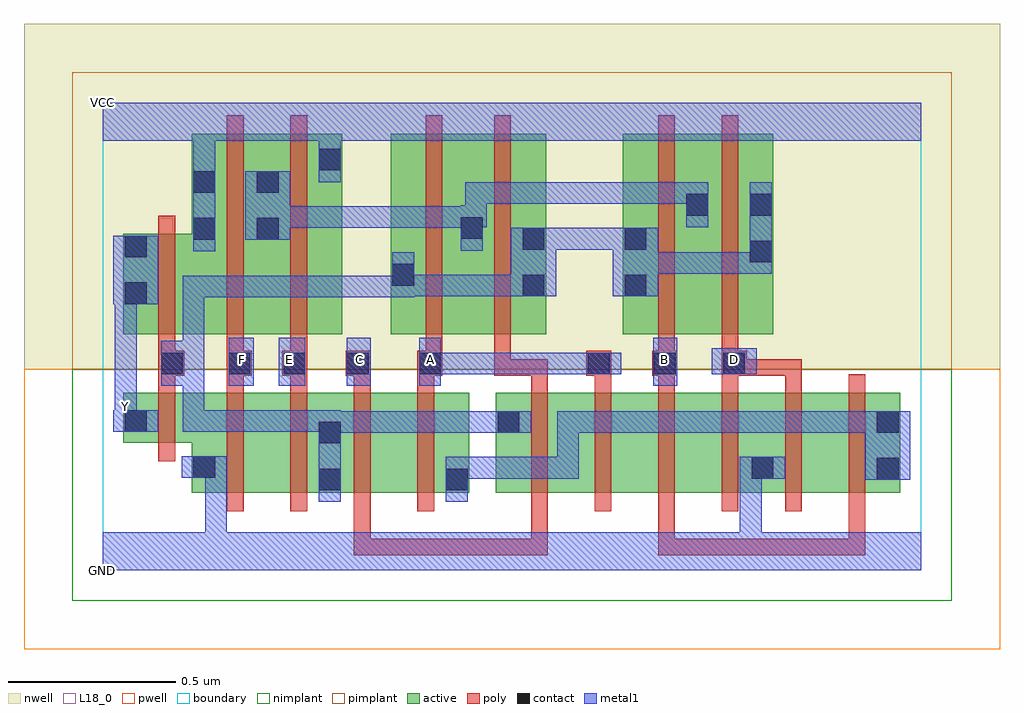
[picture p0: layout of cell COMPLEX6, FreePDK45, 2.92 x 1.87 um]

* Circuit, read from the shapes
.subckt COMPLEX6 A B C D E F GND VCC Y
M1 GND n1 Y VSUBS nfet w=0.15u l=0.05u
M2 n2 F GND VSUBS nfet w=0.3u l=0.05u
M3 n1 E n2 VSUBS nfet w=0.3u l=0.05u
M4 n3 C n1 VSUBS nfet w=0.3u l=0.05u
M5 n4 A n3 VSUBS nfet w=0.3u l=0.05u
M6 n5 C n1 VSUBS nfet w=0.3u l=0.05u
M7 n6 A n5 VSUBS nfet w=0.3u l=0.05u
M8 n7 B n6 VSUBS nfet w=0.3u l=0.05u
M9 GND D n7 VSUBS nfet w=0.3u l=0.05u
M10 n8 D GND VSUBS nfet w=0.3u l=0.05u
M11 n4 B n8 VSUBS nfet w=0.3u l=0.05u
M12 VCC n1 Y n9 pfet w=0.3u l=0.05u
M13 n10 F VCC n9 pfet w=0.6u l=0.05u
M14 VCC E n10 n9 pfet w=0.6u l=0.05u
M15 n10 A n1 n9 pfet w=0.6u l=0.05u
M16 n1 C n10 n9 pfet w=0.6u l=0.05u
M17 n10 B n1 n9 pfet w=0.6u l=0.05u
M18 n1 D n10 n9 pfet w=0.6u l=0.05u
.ends

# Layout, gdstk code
import gdstk
lib = gdstk.Library(unit=1e-6, precision=1e-09)
def R(c, l, rs):  # rectangles x0, y0, x1, y1
    for r in rs: c.add(gdstk.rectangle(r[:2], r[2:], *l))
def A(c, l, x, y, w, h, nx, ny, dx, dy):  # array of equal rectangles
    R(c, l, [(x+i*dx, y+j*dy, x+i*dx+w, y+j*dy+h) for i in range(nx) for j in range(ny)])
active = (1, 0)
pwell = (2, 0)
nwell = (3, 0)
nimplant = (4, 0)
pimplant = (5, 0)
poly = (9, 0)
contact = (10, 0)
metal1 = (11, 0)
L18_0 = (18, 0)
boundary = (235, 0)

complex6 = lib.new_cell('COMPLEX6')
R(complex6, active, [(0.267,0.232,0.492,0.532), (0.267,0.232,0.342,0.397), (0.492,0.232,0.717,0.532), (0.642,0.232,0.872,0.532), (0.872,0.232,1.097,0.532), (1.022,0.232,1.097,0.532), (1.177,0.232,1.402,0.532), (1.402,0.232,1.592,0.532), (1.592,0.232,1.782,0.532), (1.782,0.232,2.012,0.532), (1.937,0.232,2.012,0.517), (1.937,0.232,2.162,0.532), (2.162,0.232,2.387,0.532), (0.642,0.235,0.717,0.532), (1.177,0.247,1.282,0.532), (2.312,0.247,2.387,0.532), (0.062,0.382,0.342,0.532), (0.062,0.382,0.137,0.532), (0.062,0.707,0.137,1.007), (0.062,0.707,0.342,1.007), (0.267,0.707,0.532,1.307), (0.267,0.707,0.342,1.307), (0.457,0.707,0.532,1.2), (0.457,0.707,0.717,1.307), (0.642,0.707,0.717,1.307), (0.862,0.707,0.937,1.07), (0.862,0.707,1.142,1.307), (1.067,0.707,1.142,1.2), (1.067,0.707,1.327,1.307), (1.252,0.707,1.327,1.07), (1.557,0.707,1.817,1.307), (1.557,0.707,1.632,1.07), (1.742,0.707,1.817,1.2), (1.742,0.707,2.007,1.307), (1.932,0.707,2.007,1.2)])
R(complex6, pwell, [(-0.235,-0.235,2.685,0.602)])
R(complex6, nwell, [(-0.235,0.602,2.685,1.635)])
R(complex6, nimplant, [(-0.09,-0.09,2.54,0.602)])
R(complex6, pimplant, [(-0.09,0.602,2.54,1.49)])
A(complex6, poly, 0.372, 0.177, 0.05, 0.41, 4, 1, 0.19, 0)
A(complex6, poly, 1.282, 0.177, 0.05, 0.41, 6, 1, 0.19, 0)
A(complex6, poly, 0.372, 0.537, 0.05, 0.095, 4, 1, 0.19, 0)
A(complex6, poly, 1.282, 0.537, 0.05, 0.095, 5, 1, 0.19, 0)
R(complex6, poly, [(0.752,0.045,0.802,0.227), (0.752,0.045,0.802,0.095), (0.752,0.045,0.802,0.095), (0.752,0.045,0.802,0.095), (0.752,0.045,1.09,0.095), (1.04,0.045,1.09,0.095), (1.04,0.045,1.09,0.095), (1.04,0.045,1.09,0.095), (1.04,0.045,1.332,0.095), (1.282,0.045,1.332,0.227), (1.282,0.045,1.332,0.095), (1.282,0.045,1.332,0.095), (1.282,0.045,1.332,0.095), (1.662,0.045,1.712,0.227), (1.662,0.045,1.712,0.095), (1.662,0.045,1.712,0.095), (1.662,0.045,1.712,0.095), (1.662,0.045,1.927,0.095), (1.877,0.045,1.927,0.095), (1.877,0.045,1.927,0.095), (1.877,0.045,1.927,0.095), (1.877,0.045,2.06,0.095), (2.01,0.045,2.06,0.095), (2.01,0.045,2.282,0.095), (2.232,0.045,2.282,0.227), (2.232,0.045,2.282,0.095), (2.232,0.045,2.282,0.095), (2.232,0.045,2.282,0.095), (0.167,0.327,0.217,0.587), (0.167,0.537,0.217,0.632), (0.167,0.582,0.245,0.657), (0.372,0.582,0.447,0.657), (0.537,0.582,0.612,0.657), (0.727,0.582,0.802,0.657), (0.942,0.582,1.017,0.657), (1.172,0.582,1.222,0.702), (1.172,0.582,1.332,0.632), (1.447,0.582,1.522,0.657), (1.645,0.582,1.72,0.657), (1.852,0.582,1.927,0.657), (1.877,0.582,1.927,0.632), (1.877,0.582,1.927,0.632), (1.877,0.582,2.092,0.632), (2.042,0.582,2.092,0.632), (0.167,0.607,0.217,0.702), (0.372,0.607,0.422,0.702), (0.562,0.607,0.612,0.702), (0.967,0.607,1.017,0.702), (1.662,0.607,1.712,0.702), (1.852,0.607,1.902,0.702), (0.167,0.652,0.217,1.062), (0.372,0.652,0.422,1.362), (0.562,0.652,0.612,1.362), (0.967,0.652,1.017,1.362), (1.172,0.652,1.222,1.362), (1.662,0.652,1.712,1.362), (1.852,0.652,1.902,1.362)])
R(complex6, contact, [(0.647,0.24,0.712,0.305), (1.027,0.24,1.092,0.305), (2.317,0.272,2.382,0.337), (1.942,0.275,2.007,0.34), (0.272,0.277,0.337,0.342), (0.647,0.38,0.712,0.445), (1.182,0.412,1.247,0.477), (2.317,0.412,2.382,0.477), (0.067,0.415,0.132,0.48), (0.175,0.587,0.24,0.652), (0.377,0.587,0.442,0.652), (0.542,0.587,0.607,0.652), (0.732,0.587,0.797,0.652), (0.947,0.587,1.012,0.652), (1.452,0.587,1.517,0.652), (1.65,0.587,1.715,0.652), (1.857,0.587,1.922,0.652), (0.067,0.797,0.132,0.862), (1.257,0.82,1.322,0.885), (1.562,0.82,1.627,0.885), (0.867,0.852,0.932,0.917), (1.937,0.922,2.002,0.987), (0.067,0.937,0.132,1.002), (1.257,0.96,1.322,1.025), (1.562,0.96,1.627,1.025), (0.272,0.99,0.337,1.055), (0.462,0.99,0.527,1.055), (1.072,0.992,1.137,1.057), (1.747,1.062,1.812,1.127), (1.937,1.062,2.002,1.127), (0.272,1.13,0.337,1.195), (0.462,1.13,0.527,1.195), (0.647,1.197,0.712,1.262)])
R(complex6, metal1, [(0,0,2.45,0.115), (0.307,0.05,0.372,0.115), (0.307,0.05,0.372,0.115), (0.307,0.05,0.372,0.342), (1.907,0.05,1.972,0.115), (1.907,0.05,1.972,0.115), (1.907,0.05,1.972,0.34), (0.647,0.205,0.712,0.48), (1.027,0.205,1.092,0.34), (2.282,0.272,2.417,0.477), (1.027,0.275,1.15,0.34), (1.085,0.275,1.15,0.34), (1.085,0.275,1.287,0.34), (1.222,0.275,1.287,0.34), (1.222,0.275,1.425,0.34), (1.36,0.275,1.425,0.34), (1.36,0.275,1.425,0.477), (1.907,0.275,2.042,0.34), (0.237,0.277,0.372,0.342), (0.647,0.412,0.712,0.477), (0.647,0.412,0.712,0.477), (0.647,0.412,0.85,0.477), (0.785,0.412,0.85,0.477), (0.785,0.412,0.85,0.477), (0.785,0.412,0.85,0.477), (0.785,0.412,1.15,0.477), (1.085,0.412,1.15,0.477), (1.085,0.412,1.212,0.477), (1.147,0.412,1.282,0.477), (1.36,0.412,1.425,0.477), (1.36,0.412,1.425,0.477), (1.36,0.412,1.425,0.477), (1.36,0.412,1.675,0.477), (1.61,0.412,1.675,0.477), (1.61,0.412,1.675,0.477), (1.61,0.412,1.675,0.477), (1.61,0.412,1.835,0.477), (1.77,0.412,1.835,0.477), (1.77,0.412,1.835,0.477), (1.77,0.412,1.835,0.477), (1.77,0.412,1.972,0.477), (1.907,0.412,1.972,0.477), (1.907,0.412,2.21,0.477), (2.145,0.412,2.21,0.477), (2.145,0.412,2.21,0.477), (2.145,0.412,2.21,0.477), (2.145,0.412,2.347,0.477), (2.282,0.412,2.347,0.477), (2.282,0.412,2.347,0.477), (0.032,0.415,0.167,0.48), (0.037,0.415,0.102,0.48), (0.037,0.415,0.102,0.557), (0.24,0.415,0.305,0.48), (0.24,0.415,0.305,0.617), (0.24,0.415,0.377,0.48), (0.312,0.415,0.377,0.48), (0.312,0.415,0.575,0.48), (0.51,0.415,0.575,0.48), (0.51,0.415,0.575,0.48), (0.51,0.415,0.575,0.48), (0.51,0.415,0.712,0.48), (0.037,0.492,0.102,0.862), (0.175,0.552,0.24,0.687), (0.175,0.552,0.305,0.617), (0.24,0.552,0.305,0.617), (0.24,0.552,0.305,0.882), (0.377,0.552,0.452,0.697), (0.527,0.552,0.607,0.697), (0.73,0.552,0.802,0.697), (0.947,0.552,1.012,0.697), (1.647,0.552,1.72,0.697), (0.947,0.587,1.15,0.652), (1.085,0.587,1.15,0.652), (1.085,0.587,1.15,0.652), (1.085,0.587,1.15,0.652), (1.085,0.587,1.287,0.652), (1.222,0.587,1.287,0.652), (1.222,0.587,1.287,0.652), (1.222,0.587,1.287,0.652), (1.222,0.587,1.482,0.652), (1.417,0.587,1.552,0.652), (1.822,0.587,1.957,0.665), (0.032,0.797,0.167,1.002), (0.24,0.817,0.305,0.882), (0.24,0.817,0.377,0.882), (0.312,0.817,0.377,0.882), (0.312,0.817,0.54,0.882), (0.475,0.817,0.54,0.882), (0.475,0.817,0.54,0.882), (0.475,0.817,0.54,0.882), (0.475,0.817,0.712,0.882), (0.647,0.817,0.712,0.882), (0.647,0.817,0.712,0.882), (0.647,0.817,0.712,0.882), (0.647,0.817,0.932,0.882), (0.867,0.817,0.932,0.952), (0.867,0.82,0.932,0.885), (0.867,0.82,0.932,0.885), (0.867,0.82,1.15,0.885), (1.085,0.82,1.15,0.885), (1.085,0.82,1.15,0.885), (1.085,0.82,1.15,0.885), (1.085,0.82,1.287,0.885), (1.222,0.82,1.287,0.885), (1.222,0.82,1.287,0.885), (1.222,0.82,1.357,1.025), (1.527,0.82,1.662,1.025), (1.597,0.887,1.662,0.952), (1.597,0.887,1.662,0.952), (1.597,0.887,1.835,0.952), (1.77,0.887,1.835,0.952), (1.77,0.887,2.002,0.952), (1.937,0.887,2.002,0.952), (1.937,0.887,2.002,0.952), (1.937,0.887,2.002,1.162), (0.272,0.955,0.337,1.23), (1.072,0.957,1.137,1.092), (1.292,0.96,1.425,1.025), (1.36,0.96,1.425,1.025), (1.36,0.96,1.592,1.025), (0.427,0.99,0.562,1.195), (0.497,1.025,0.562,1.09), (0.497,1.025,0.562,1.09), (0.497,1.025,0.712,1.09), (0.647,1.025,0.712,1.09), (0.647,1.025,0.712,1.09), (0.647,1.025,0.712,1.09), (0.647,1.025,0.85,1.09), (0.785,1.025,0.85,1.09), (0.785,1.025,0.85,1.09), (0.785,1.025,0.85,1.09), (0.785,1.025,1.137,1.09), (1.072,1.027,1.15,1.092), (1.085,1.027,1.15,1.162), (1.747,1.027,1.812,1.162), (1.085,1.097,1.287,1.162), (1.222,1.097,1.287,1.162), (1.222,1.097,1.425,1.162), (1.36,1.097,1.425,1.162), (1.36,1.097,1.425,1.162), (1.36,1.097,1.425,1.162), (1.36,1.097,1.562,1.162), (1.497,1.097,1.562,1.162), (1.497,1.097,1.562,1.162), (1.497,1.097,1.562,1.162), (1.497,1.097,1.812,1.162), (0.647,1.162,0.712,1.297), (0.272,1.165,0.337,1.35), (0.647,1.232,0.712,1.35), (0,1.285,2.45,1.4)])
A(complex6, L18_0, 0.527, 0.597, 0.065, 0.065, 3, 1, 0.21, 0)
R(complex6, L18_0, [(0,0,2.45,0.115), (0.307,0.05,0.372,0.115), (0.307,0.05,0.372,0.115), (0.307,0.05,0.372,0.342), (1.907,0.05,1.972,0.115), (1.907,0.05,1.972,0.115), (1.907,0.05,1.972,0.34), (1.907,0.275,2.042,0.34), (0.237,0.277,0.372,0.342), (0.032,0.415,0.167,0.48), (0.037,0.415,0.102,0.557), (0.037,0.415,0.102,0.48), (0.037,0.457,0.102,0.522), (0.037,0.492,0.102,0.862), (0.377,0.552,0.452,0.697), (0.527,0.552,0.607,0.697), (0.73,0.552,0.802,0.697), (0.947,0.552,1.012,0.697), (1.647,0.552,1.72,0.697), (0.947,0.587,1.15,0.652), (1.085,0.587,1.15,0.652), (1.085,0.587,1.15,0.652), (1.085,0.587,1.15,0.652), (1.085,0.587,1.287,0.652), (1.222,0.587,1.287,0.652), (1.222,0.587,1.287,0.652), (1.222,0.587,1.287,0.652), (1.222,0.587,1.482,0.652), (1.417,0.587,1.552,0.652), (1.822,0.587,1.957,0.665), (0.387,0.597,0.452,0.662), (1.647,0.597,1.712,0.662), (1.857,0.597,1.922,0.662), (0.032,0.797,0.167,1.002), (0.272,0.955,0.337,1.23), (0.647,1.162,0.712,1.297), (0.272,1.165,0.337,1.35), (0.647,1.232,0.712,1.35), (0,1.285,2.45,1.4)])
R(complex6, boundary, [(0,0,2.45,1.4)])
complex6.add(gdstk.Label('A', (0.98,0.63), layer=11, texttype=0))
complex6.add(gdstk.Label('B', (1.68,0.63), layer=11, texttype=0))
complex6.add(gdstk.Label('C', (0.77,0.63), layer=11, texttype=0))
complex6.add(gdstk.Label('D', (1.89,0.63), layer=11, texttype=0))
complex6.add(gdstk.Label('E', (0.56,0.63), layer=11, texttype=0))
complex6.add(gdstk.Label('F', (0.42,0.63), layer=11, texttype=0))
complex6.add(gdstk.Label('Y', (0.07,0.49), layer=11, texttype=0))
complex6.add(gdstk.Label('VCC', (0,1.4), layer=11, texttype=0))
complex6.add(gdstk.Label('GND', (0,0), layer=11, texttype=0))

lib.write_gds('COMPLEX6.gds')
